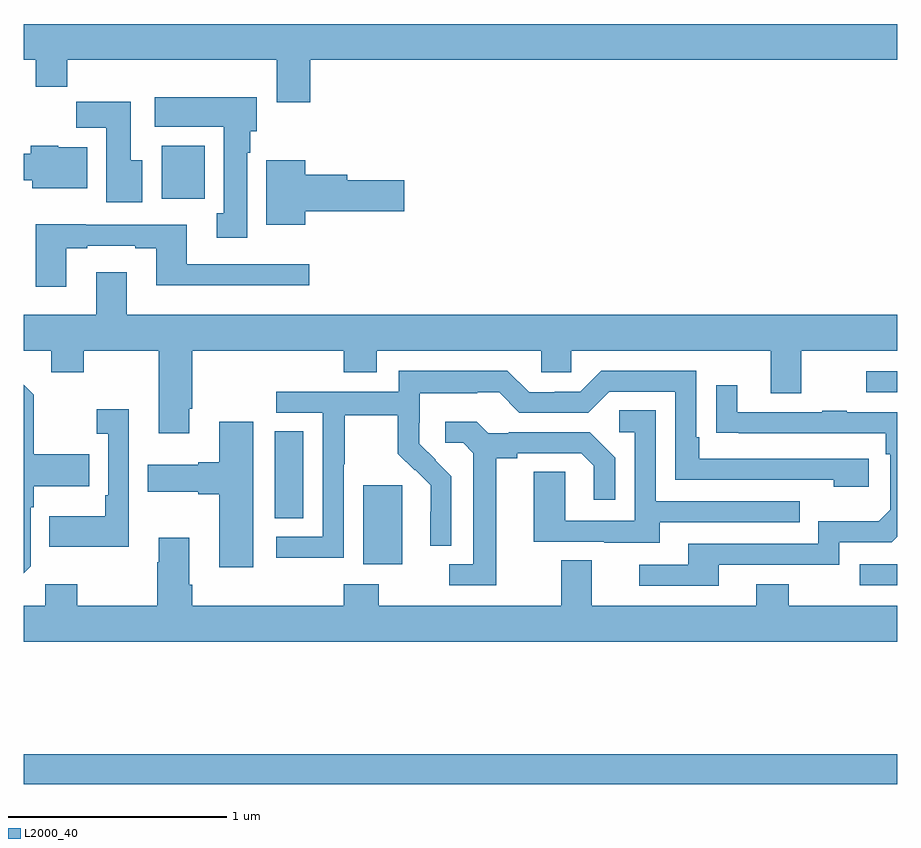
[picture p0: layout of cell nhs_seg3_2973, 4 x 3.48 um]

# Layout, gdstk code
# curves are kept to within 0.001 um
import gdstk
lib = gdstk.Library(unit=1e-6, precision=1e-09)
def R(c, l, rs):  # rectangles x0, y0, x1, y1
    for r in rs: c.add(gdstk.rectangle(r[:2], r[2:], *l))
def P(c, l, *ps):  # polygons
    for p in ps: c.add(gdstk.Polygon(p, *l))
L2000_40 = (2000, 40)

nhs_seg3_2973 = lib.new_cell('nhs_seg3_2973')
R(nhs_seg3_2973, L2000_40, [(265,714.916,269,715.052), (268.827,715.827,269,715.923), (266.555,715.922,266.734,716.283), (266.15,716.134,266.281,716.531), (268.857,716.709,269,716.805), (265.631,717.596,265.828,717.838)])
P(nhs_seg3_2973, L2000_40, [(266.312,718.232),(269,718.232),(269,718.396),(265,718.396),(265,718.232),(265.055,718.232),(265.055,718.108),(265.199,718.108),(265.199,718.232),(266.159,718.232),(266.159,718.038),(266.312,718.038)],
  [(266.023,717.806),(266.038,717.806),(266.038,717.906),(266.068,717.906),(266.068,718.06),(265.599,718.06),(265.599,717.926),(265.916,717.926),(265.916,717.53),(265.883,717.53),(265.883,717.417),(266.023,717.417)],
  [(265.543,717.772),(265.489,717.772),(265.489,718.039),(265.24,718.039),(265.24,717.92),(265.379,717.92),(265.379,717.579),(265.543,717.579)],
  [(265.291,717.832),(265.158,717.832),(265.158,717.838),(265.033,717.838),(265.033,717.802),(265,717.802),(265,717.68),(265.04,717.68),(265.04,717.644),(265.291,717.644)],
  [(266.29,717.538),(266.743,717.538),(266.743,717.68),(266.482,717.68),(266.482,717.705),(266.29,717.705),(266.29,717.772),(266.111,717.772),(266.111,717.476),(266.29,717.476)],
  [(265.195,717.369),(265.291,717.369),(265.291,717.381),(265.511,717.381),(265.511,717.369),(265.607,717.369),(265.607,717.2),(266.308,717.2),(266.308,717.297),(265.747,717.297),(265.747,717.477),(265.283,717.477),(265.283,717.478),(265.055,717.478),(265.055,717.192),(265.195,717.192)],
  [(265.759,716.635),(265.772,716.635),(265.772,716.9),(266.465,716.9),(266.465,716.801),(266.617,716.801),(266.617,716.9),(267.369,716.9),(267.369,716.802),(267.507,716.802),(267.507,716.9),(268.421,716.9),(268.421,716.706),(268.561,716.706),(268.561,716.9),(269,716.9),(269,717.064),(265.471,717.064),(265.471,717.259),(265.331,717.259),(265.331,717.064),(265,717.064),(265,716.9),(265.127,716.9),(265.127,716.801),(265.275,716.801),(265.275,716.9),(265.619,716.9),(265.619,716.523),(265.759,716.523)],
  [(266.466,716.38),(266.469,716.38),(266.469,716.604),(266.713,716.604),(266.713,716.429),(266.79,716.352),(266.793,716.355),(266.864,716.285),(266.864,716.162),(266.862,716.162),(266.862,716.008),(266.958,716.008),(266.958,716.326),(266.812,716.474),(266.812,716.571),(266.814,716.571),(266.814,716.705),(267.077,716.705),(267.077,716.709),(267.177,716.709),(267.27,716.616),(267.585,716.616),(267.681,716.712),(267.984,716.712),(267.984,716.31),(268.709,716.31),(268.709,716.276),(268.87,716.276),(268.87,716.406),(268.093,716.406),(268.093,716.503),(268.08,716.503),(268.08,716.808),(267.645,716.808),(267.549,716.712),(267.431,716.712),(267.431,716.709),(267.315,716.709),(267.215,716.809),(266.718,716.809),(266.718,716.712),(266.157,716.712),(266.157,716.616),(266.37,716.616),(266.37,716.049),(266.157,716.049),(266.157,715.951),(266.466,715.951)],
  [(265.032,715.914),(265.032,716.183),(265.045,716.183),(265.045,716.279),(265.301,716.279),(265.301,716.427),(265.045,716.427),(265.045,716.699),(265,716.744),(265,715.882)],
  [(268.183,715.92),(268.734,715.92),(268.734,716.022),(268.974,716.022),(269,716.048),(269,716.619),(268.769,716.619),(268.769,716.624),(268.657,716.624),(268.657,716.619),(268.267,716.619),(268.267,716.743),(268.171,716.743),(268.171,716.524),(268.948,716.523),(268.948,716.426),(268.968,716.426),(268.968,716.172),(268.915,716.119),(268.638,716.119),(268.638,716.016),(268.043,716.016),(268.043,715.92),(267.819,715.92),(267.819,715.824),(268.183,715.824)],
  [(265.482,716.632),(265.335,716.632),(265.335,716.519),(265.386,716.519),(265.386,716.239),(265.374,716.239),(265.374,716.143),(265.117,716.143),(265.117,716.003),(265.482,716.003)],
  [(267.913,716.115),(268.553,716.115),(268.553,716.211),(267.894,716.211),(267.894,716.627),(267.726,716.627),(267.726,716.526),(267.798,716.526),(267.798,716.121),(267.48,716.121),(267.48,716.345),(267.335,716.345),(267.335,716.025),(267.659,716.025),(267.659,716.021),(267.913,716.021)],
  [(266.05,716.575),(265.895,716.575),(265.895,716.39),(265.799,716.39),(265.799,716.377),(265.569,716.377),(265.569,716.255),(265.799,716.255),(265.799,716.243),(265.895,716.243),(265.895,715.908),(266.05,715.908)],
  [(267.163,716.408),(267.259,716.408),(267.259,716.43),(267.554,716.43),(267.611,716.373),(267.611,716.217),(267.708,716.217),(267.708,716.41),(267.592,716.526),(267.22,716.526),(267.22,716.523),(267.126,716.523),(267.074,716.575),(266.931,716.575),(266.931,716.478),(267.012,716.478),(267.059,716.431),(267.059,715.923),(266.949,715.923),(266.949,715.827),(267.163,715.827)],
  [(269,715.732),(268.503,715.732),(268.503,715.831),(268.355,715.831),(268.355,715.732),(267.601,715.732),(267.601,715.94),(267.461,715.94),(267.461,715.732),(266.625,715.732),(266.625,715.831),(266.465,715.831),(266.465,715.732),(265.772,715.732),(265.772,715.828),(265.759,715.828),(265.759,716.044),(265.619,716.044),(265.619,715.931),(265.612,715.931),(265.612,715.732),(265.245,715.732),(265.245,715.831),(265.098,715.831),(265.098,715.732),(265,715.732),(265,715.568),(269,715.568)])

lib.write_gds('nhs_seg3_2973.gds')
